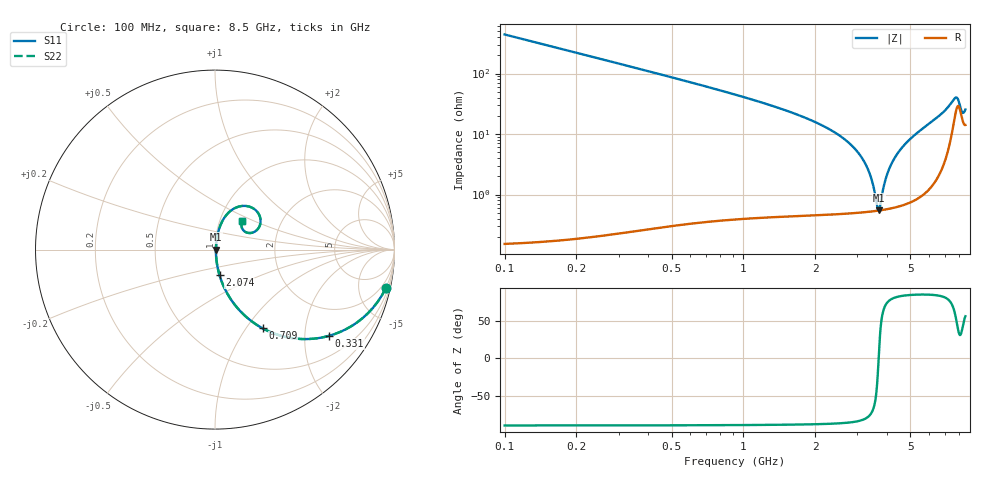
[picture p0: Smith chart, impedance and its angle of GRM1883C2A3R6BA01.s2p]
!Murata Part Number: GRM1883C2A3R6BA01
!These Parameters are Measured in Series Mode Connection
!Data Generated on Mar 30, 2021
!  o--ll--o
!Port1  Port2
!  o------o
!Operation Temp=25[degC], DC Bias Voltage=0[V]
!Freq. Start=100[MHz] Stop=9[GHz] 401[Steps]
# Hz S RI R 50
!Freq.(Hz) S11(Real) S11(Imag) S21(Real) S21(Imag) S12(Real) S12(Imag) S22(Real) S22(Imag)
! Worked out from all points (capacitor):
!   401 points, 100 MHz to 8.5 GHz, reference 50 ohm
!   read as one part in series: C = 3.6 pF near 142 MHz
!   lowest |Z| = 548 mohm at 3.691 GHz (marker M1)
!   series resonance near 3.683 GHz, so ESL is about 520 pH
!   S11 on the Smith chart (normalised r, x): 100 MHz: 1.00, -8.83; 331 MHz: 1.00, -2.65; 709 MHz: 1.01, -1.20; 2.074 GHz: 1.01, -0.29; 8.5 GHz: 1.28, +0.42
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1e8  0.9512 -0.2153  0.0488 0.2153  0.0488 0.2153  0.9512 -0.2153
2.05e8  0.8218 -0.3822  0.1782 0.3822  0.1782 0.3822  0.8218 -0.3822
3.31e8  0.6365 -0.4801  0.3635 0.4801  0.3635 0.4801  0.6365 -0.4801
5.2e8  0.4096 -0.4899  0.5904 0.4899  0.5904 0.4899  0.4096 -0.4899
7.09e8  0.2659 -0.4389  0.7341 0.4389  0.7341 0.4389  0.2659 -0.4389
1.045e9  0.1341 -0.3357  0.8659 0.3357  0.8659 0.3357  0.1341 -0.3357
1.507e9  0.0603 -0.2294  0.9397 0.2294  0.9397 0.2294  0.0603 -0.2294
2.074e9  0.0255 -0.1427  0.9745 0.1427  0.9745 0.1427  0.0255 -0.1427
2.914e9  0.00825 -0.0574  0.9918 0.0574  0.9918 0.0574  0.00825 -0.0574
3.355e9  0.00571 -0.023  0.9943 0.023  0.9943 0.023  0.00571 -0.023
3.481e9  0.00546 -0.0139  0.9945 0.0139  0.9945 0.0139  0.00546 -0.0139
3.649e9  0.00539 -0.0023  0.9946 0.0023  0.9946 0.0023  0.00539 -0.0023
3.691e9  0.00542 0.000542  0.9946 -0.000542  0.9946 -0.000542  0.00542 0.000542
3.964e9  0.00602 0.0185  0.994 -0.0185  0.994 -0.0185  0.00602 0.0185
4.3e9  0.00764 0.0395  0.9924 -0.0395  0.9924 -0.0395  0.00764 0.0395
4.846e9  0.0123 0.0722  0.9877 -0.0722  0.9877 -0.0722  0.0123 0.0722
5.707e9  0.0257 0.1235  0.9743 -0.1235  0.9743 -0.1235  0.0257 0.1235
7.114e9  0.1002 0.2253  0.8998 -0.2253  0.8998 -0.2253  0.1002 0.2253
7.723e9  0.2359 0.2098  0.7641 -0.2098  0.7641 -0.2098  0.2359 0.2098
8.017e9  0.228 0.1044  0.772 -0.1044  0.772 -0.1044  0.228 0.1044
8.227e9  0.1665 0.1001  0.8335 -0.1001  0.8335 -0.1001  0.1665 0.1001
8.5e9  0.1528 0.1574  0.8472 -0.1574  0.8472 -0.1574  0.1528 0.1574
